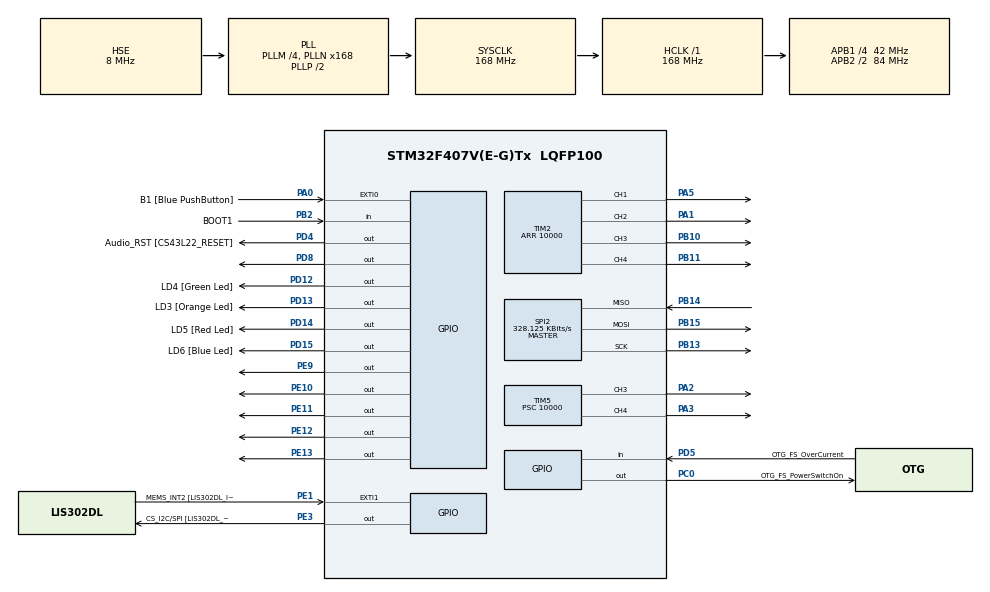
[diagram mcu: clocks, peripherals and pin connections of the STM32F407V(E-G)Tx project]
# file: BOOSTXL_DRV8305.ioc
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Mcu.Family=STM32F4
Mcu.Name=STM32F407V(E-G)Tx
Mcu.Package=LQFP100
NVIC.PriorityGroup=NVIC_PRIORITYGROUP_0
PA0-WKUP.GPIO_Label=B1 [Blue PushButton]
PA0-WKUP.GPIO_ModeDefaultEXTI=GPIO_MODE_EVT_RISING
PA0-WKUP.GPIO_PuPd=GPIO_NOPULL
PA0-WKUP.Signal=GPXTI0
PA1.Signal=S_TIM2_CH2
PA10.GPIO_Label=OTG_FS_ID
PA10.GPIO_Mode=GPIO_MODE_AF_PP
PA10.GPIO_PuPd=GPIO_NOPULL
PA10.GPIO_Speed=GPIO_SPEED_LOW
PA10.Signal=USB_OTG_FS_ID
PA11.GPIO_Label=OTG_FS_DM
PA11.GPIO_Mode=GPIO_MODE_AF_PP
PA11.GPIO_PuPd=GPIO_NOPULL
PA11.GPIO_Speed=GPIO_SPEED_LOW
PA11.Signal=USB_OTG_FS_DM
PA12.GPIO_Label=OTG_FS_DP
PA12.GPIO_Mode=GPIO_MODE_AF_PP
PA12.GPIO_PuPd=GPIO_NOPULL
PA12.GPIO_Speed=GPIO_SPEED_LOW
PA12.Signal=USB_OTG_FS_DP
PA13.GPIO_Label=SWDIO
PA13.Signal=SYS_JTMS-SWDIO
PA14.GPIO_Label=SWCLK
PA14.Signal=SYS_JTCK-SWCLK
PA2.Signal=S_TIM5_CH3
PA3.Signal=S_TIM5_CH4
PA4.GPIO_Label=I2S3_WS [CS43L22_LRCK]
PA4.GPIO_Mode=GPIO_MODE_AF_PP
PA4.GPIO_PuPd=GPIO_NOPULL
PA4.GPIO_Speed=GPIO_SPEED_LOW
PA4.Signal=I2S3_WS
PA5.Signal=S_TIM2_CH1_ETR
PA6.GPIO_Label=SPI1_MISO [LIS302DL_SDO]
PA6.GPIO_Mode=GPIO_MODE_AF_PP
PA6.GPIO_PuPd=GPIO_NOPULL
PA6.GPIO_Speed=GPIO_SPEED_LOW
PA6.Signal=SPI1_MISO
PA7.GPIO_Label=SPI1_MOSI [LIS302DL_SDA/SDI/SDO]
PA7.GPIO_Mode=GPIO_MODE_AF_PP
PA7.GPIO_PuPd=GPIO_NOPULL
PA7.GPIO_Speed=GPIO_SPEED_LOW
PA7.Signal=SPI1_MOSI
PA9.GPIO_Label=VBUS_FS
PA9.GPIO_Mode=GPIO_MODE_INPUT
PA9.GPIO_PuPd=GPIO_NOPULL
PA9.Signal=USB_OTG_FS_VBUS
PB10.Signal=S_TIM2_CH3
PB11.Signal=S_TIM2_CH4
PB13.Mode=Full_Duplex_Master
PB13.Signal=SPI2_SCK
PB14.Mode=Full_Duplex_Master
PB14.Signal=SPI2_MISO
PB15.Mode=Full_Duplex_Master
PB15.Signal=SPI2_MOSI
PB2.GPIO_Label=BOOT1
PB2.GPIO_Mode=GPIO_MODE_INPUT
PB2.GPIO_PuPd=GPIO_NOPULL
PB2.Signal=GPIO_Input
PB3.GPIO_Label=SWO
PB3.Signal=SYS_JTDO-SWO
PB6.GPIO_Label=Audio_SCL [CS43L22_SCL]
PB6.GPIO_Mode=GPIO_MODE_AF_OD
PB6.GPIO_PuPd=GPIO_NOPULL
PB6.GPIO_Speed=GPIO_SPEED_LOW
PB6.Signal=I2C1_SCL
PB9.GPIO_Label=Audio_SDA [CS43L22_SDA]
PB9.GPIO_Mode=GPIO_MODE_AF_OD
PB9.GPIO_PuPd=GPIO_NOPULL
PB9.GPIO_Speed=GPIO_SPEED_LOW
PB9.Signal=I2C1_SDA
PC0.GPIO_Label=OTG_FS_PowerSwitchOn
PC0.GPIO_PuPd=GPIO_NOPULL
PC0.GPIO_Speed=GPIO_SPEED_LOW
PC0.Signal=GPIO_Output
PC10.GPIO_Label=I2S3_SCK [CS43L22_SCLK]
PC10.GPIO_Mode=GPIO_MODE_AF_PP
PC10.GPIO_PuPd=GPIO_NOPULL
PC10.GPIO_Speed=GPIO_SPEED_LOW
PC10.Signal=I2S3_CK
PC12.GPIO_Label=I2S3_SD [CS43L22_SDIN]
PC12.GPIO_Mode=GPIO_MODE_AF_PP
PC12.GPIO_PuPd=GPIO_NOPULL
PC12.GPIO_Speed=GPIO_SPEED_LOW
PC12.Signal=I2S3_SD
PC14-OSC32_IN.GPIO_Label=PC14-OSC32_IN
PC14-OSC32_IN.Mode=LSE-External-Oscillator
PC14-OSC32_IN.Signal=RCC_OSC32_IN
PC15-OSC32_OUT.GPIO_Label=PC15-OSC32_OUT
PC15-OSC32_OUT.Mode=LSE-External-Oscillator
PC15-OSC32_OUT.Signal=RCC_OSC32_OUT
PC3.GPIO_Label=PDM_OUT [MP45DT02_DOUT]
PC3.GPIO_Mode=GPIO_MODE_AF_PP
PC3.GPIO_PuPd=GPIO_NOPULL
PC3.GPIO_Speed=GPIO_SPEED_LOW
PC3.Signal=I2S2_SD
PC7.GPIO_Label=I2S3_MCK [CS43L22_MCLK]
PC7.GPIO_Mode=GPIO_MODE_AF_PP
PC7.GPIO_PuPd=GPIO_NOPULL
PC7.GPIO_Speed=GPIO_SPEED_LOW
PC7.Signal=I2S3_MCK
PD12.GPIO_Label=LD4 [Green Led]
PD12.GPIO_PuPd=GPIO_NOPULL
PD12.GPIO_Speed=GPIO_SPEED_LOW
PD12.Signal=GPIO_Output
PD13.GPIO_Label=LD3 [Orange Led]
PD13.GPIO_PuPd=GPIO_NOPULL
PD13.GPIO_Speed=GPIO_SPEED_LOW
PD13.Signal=GPIO_Output
PD14.GPIO_Label=LD5 [Red Led]
PD14.GPIO_PuPd=GPIO_NOPULL
PD14.GPIO_Speed=GPIO_SPEED_LOW
PD14.Signal=GPIO_Output
PD15.GPIO_Label=LD6 [Blue Led]
PD15.GPIO_PuPd=GPIO_NOPULL
PD15.GPIO_Speed=GPIO_SPEED_LOW
PD15.Signal=GPIO_Output
PD4.GPIO_Label=Audio_RST [CS43L22_RESET]
PD4.GPIO_PuPd=GPIO_NOPULL
PD4.GPIO_Speed=GPIO_SPEED_LOW
PD4.Signal=GPIO_Output
PD5.GPIO_Label=OTG_FS_OverCurrent
PD5.GPIO_Mode=GPIO_MODE_INPUT
PD5.GPIO_PuPd=GPIO_NOPULL
PD5.Signal=GPIO_Input
PD8.Signal=GPIO_Output
PE1.GPIO_Label=MEMS_INT2 [LIS302DL_INT2]
PE1.GPIO_ModeDefaultEXTI=GPIO_MODE_EVT_RISING
PE1.GPIO_PuPd=GPIO_NOPULL
PE1.Signal=GPXTI1
PE10.Signal=GPIO_Output
PE11.Signal=GPIO_Output
PE12.Signal=GPIO_Output
PE13.Signal=GPIO_Output
PE3.GPIO_Label=CS_I2C/SPI [LIS302DL_CS_I2C/SPI]
PE3.GPIO_PuPd=GPIO_NOPULL
PE3.GPIO_Speed=GPIO_SPEED_LOW
PE3.Signal=GPIO_Output
PE9.Signal=GPIO_Output
PH0-OSC_IN.GPIO_Label=PH0-OSC_IN
PH0-OSC_IN.Mode=HSE-External-Oscillator
PH0-OSC_IN.Signal=RCC_OSC_IN
PH1-OSC_OUT.GPIO_Label=PH1-OSC_OUT
PH1-OSC_OUT.Mode=HSE-External-Oscillator
PH1-OSC_OUT.Signal=RCC_OSC_OUT
ProjectManager.HeapSize=0x400
ProjectManager.StackSize=0x200
ProjectManager.TargetToolchain=MDK-ARM V5
RCC.48MHZClocksFreq_Value=48000000
RCC.AHBFreq_Value=168000000
RCC.APB1CLKDivider=RCC_HCLK_DIV4
RCC.APB1Freq_Value=42000000
RCC.APB1TimFreq_Value=84000000
RCC.APB2CLKDivider=RCC_HCLK_DIV2
RCC.APB2Freq_Value=84000000
RCC.APB2TimFreq_Value=168000000
RCC.CortexFreq_Value=168000000
RCC.HCLKFreq_Value=168000000
RCC.HSE_VALUE=8000000
RCC.HSI_VALUE=16000000
RCC.PLLM=4
RCC.PLLN=168
RCC.PLLQ=7
RCC.PLLSourceVirtual=RCC_PLLSOURCE_HSE
RCC.SYSCLKFreq_VALUE=168000000
RCC.SYSCLKSource=RCC_SYSCLKSOURCE_PLLCLK
RCC.VCOOutputFreq_Value=336000000
SH.S_TIM2_CH1_ETR.0=TIM2_CH1,PWM Generation1 CH1
SH.S_TIM2_CH2.0=TIM2_CH2,PWM Generation2 CH2
SH.S_TIM2_CH3.0=TIM2_CH3,PWM Generation3 CH3
SH.S_TIM2_CH4.0=TIM2_CH4,PWM Generation4 CH4
SH.S_TIM5_CH3.0=TIM5_CH3,PWM Generation3 CH3
SH.S_TIM5_CH4.0=TIM5_CH4,PWM Generation4 CH4
SPI2.BaudRatePrescaler=SPI_BAUDRATEPRESCALER_128
SPI2.CLKPhase=SPI_PHASE_2EDGE
SPI2.CLKPolarity=SPI_POLARITY_LOW
SPI2.CalculateBaudRate=328.125 KBits/s
SPI2.DataSize=SPI_DATASIZE_16BIT
SPI2.FirstBit=SPI_FIRSTBIT_MSB
SPI2.Mode=SPI_MODE_MASTER
TIM2.Channel-PWM\ Generation2\ CH2=TIM_CHANNEL_2
TIM2.Channel-PWM\ Generation3\ CH3=TIM_CHANNEL_3
TIM2.Channel-PWM\ Generation4\ CH4=TIM_CHANNEL_4
TIM2.Period=10000
TIM2.Pulse-PWM\ Generation1\ CH1=5000
TIM2.Pulse-PWM\ Generation2\ CH2=5000
TIM2.Pulse-PWM\ Generation3\ CH3=5000
TIM2.Pulse-PWM\ Generation4\ CH4=5000
TIM5.Channel-PWM\ Generation3\ CH3=TIM_CHANNEL_3
TIM5.Channel-PWM\ Generation4\ CH4=TIM_CHANNEL_4
TIM5.Prescaler=10000
TIM5.Pulse-PWM\ Generation3\ CH3=5000
TIM5.Pulse-PWM\ Generation4\ CH4=5000
board=STM32F4DISCOVERY

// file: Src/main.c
/**
  ******************************************************************************
  * File Name          : main.c
  * Description        : Main program body
  ******************************************************************************
  *
  * COPYRIGHT(c) 2017 STMicroelectronics
  *
  * Redistribution and use in source and binary forms, with or without modification,
  * are permitted provided that the following conditions are met:
  *   1. Redistributions of source code must retain the above copyright notice,
  *      this list of conditions and the following disclaimer.
  *   2. Redistributions in binary form must reproduce the above copyright notice,
  *      this list of conditions and the following disclaimer in the documentation
  *      and/or other materials provided with the distribution.
  *   3. Neither the name of STMicroelectronics nor the names of its contributors
  *      may be used to endorse or promote products derived from this software
  *      without specific prior written permission.
  *
  * THIS SOFTWARE IS PROVIDED BY THE COPYRIGHT HOLDERS AND CONTRIBUTORS "AS IS"
  * AND ANY EXPRESS OR IMPLIED WARRANTIES, INCLUDING, BUT NOT LIMITED TO, THE
  * IMPLIED WARRANTIES OF MERCHANTABILITY AND FITNESS FOR A PARTICULAR PURPOSE ARE
  * DISCLAIMED. IN NO EVENT SHALL THE COPYRIGHT HOLDER OR CONTRIBUTORS BE LIABLE
  * FOR ANY DIRECT, INDIRECT, INCIDENTAL, SPECIAL, EXEMPLARY, OR CONSEQUENTIAL
  * DAMAGES (INCLUDING, BUT NOT LIMITED TO, PROCUREMENT OF SUBSTITUTE GOODS OR
  * SERVICES; LOSS OF USE, DATA, OR PROFITS; OR BUSINESS INTERRUPTION) HOWEVER
  * CAUSED AND ON ANY THEORY OF LIABILITY, WHETHER IN CONTRACT, STRICT LIABILITY,
  * OR TORT (INCLUDING NEGLIGENCE OR OTHERWISE) ARISING IN ANY WAY OUT OF THE USE
  * OF THIS SOFTWARE, EVEN IF ADVISED OF THE POSSIBILITY OF SUCH DAMAGE.
  *
  ******************************************************************************
  */
#include "stm32f4xx_hal.h"
#include "spi.h"
#include "tim.h"
#include "gpio.h"

/* USER CODE BEGIN PV */
/* Private variables ---------------------------------------------------------*/

/* USER CODE END PV */

void SystemClock_Config(void);

/* USER CODE BEGIN PFP */
/* Private function prototypes -----------------------------------------------*/

/* USER CODE END PFP */

int main(void)
{

  /* MCU Configuration----------------------------------------------------------*/

  /* Reset of all peripherals, Initializes the Flash interface and the Systick. */
  HAL_Init();

  /* Configure the system clock */
  SystemClock_Config();

  /* Initialize all configured peripherals */
  MX_GPIO_Init();
  MX_SPI2_Init();
  MX_TIM2_Init();
  MX_TIM5_Init();

  /* USER CODE BEGIN 2 */
  HAL_TIM_Base_Start(&htim2);
  HAL_TIM_Base_Start(&htim5);
  HAL_TIM_PWM_Start(&htim2,TIM_CHANNEL_1);
  HAL_TIM_PWM_Start(&htim2,TIM_CHANNEL_2);
  HAL_TIM_PWM_Start(&htim2,TIM_CHANNEL_3);
  HAL_TIM_PWM_Start(&htim2,TIM_CHANNEL_4);
  HAL_TIM_PWM_Start(&htim5,TIM_CHANNEL_2);
  HAL_TIM_PWM_Start(&htim5,TIM_CHANNEL_3);

  uint8_t command = 0;
  uint8_t button_state = 0;
  int32_t button_counter = 0;
  uint8_t TXRead[2]={0, 0xB8};
  uint8_t TXWrite[2]={0x16, 0x3B};
  uint8_t RX[2]={0, 0};
  HAL_GPIO_WritePin(GPIOD,GPIO_PIN_12|GPIO_PIN_13|GPIO_PIN_14|GPIO_PIN_15,1);
  /* USER CODE END 2 */

  /* Infinite loop */
  /* USER CODE BEGIN WHILE */
  HAL_GPIO_WritePin(GPIOE,GPIO_PIN_9,0);
	int phase_timing=3;
  while (1)
  {
  /* USER CODE END WHILE */

  /* USER CODE BEGIN 3 */

    HAL_Delay(10);
    button_state = HAL_GPIO_ReadPin(GPIOA,GPIO_PIN_0);
    if(button_state){
      button_counter++;
      if(button_counter>100 && button_counter<200){
        command=1;
        HAL_GPIO_WritePin(GPIOD,GPIO_PIN_12,1);
        HAL_GPIO_WritePin(GPIOD,GPIO_PIN_13,0);
        HAL_GPIO_WritePin(GPIOD,GPIO_PIN_14,0);
        HAL_GPIO_WritePin(GPIOD,GPIO_PIN_15,0);
      }
      if(button_counter>200 && button_counter<300){
        command=2;
        HAL_GPIO_WritePin(GPIOD,GPIO_PIN_12,1);
        HAL_GPIO_WritePin(GPIOD,GPIO_PIN_13,1);
        HAL_GPIO_WritePin(GPIOD,GPIO_PIN_14,0);
        HAL_GPIO_WritePin(GPIOD,GPIO_PIN_15,0);
      }
      if(button_counter>300 && button_counter<400){
        command=3;
        HAL_GPIO_WritePin(GPIOD,GPIO_PIN_12,1);
        HAL_GPIO_WritePin(GPIOD,GPIO_PIN_13,1);
        HAL_GPIO_WritePin(GPIOD,GPIO_PIN_14,1);
        HAL_GPIO_WritePin(GPIOD,GPIO_PIN_15,0);
      }
    }else{
      button_counter--;
      if(button_counter<=0){
        button_counter = 0;
        HAL_GPIO_WritePin(GPIOD,GPIO_PIN_12|GPIO_PIN_13|GPIO_PIN_14|GPIO_PIN_15,0);
      }
      switch(command){
        case(0):
          HAL_GPIO_WritePin(GPIOD,GPIO_PIN_8,1);
					HAL_GPIO_WritePin(GPIOE,GPIO_PIN_9,0);
					HAL_GPIO_WritePin(GPIOE,GPIO_PIN_10,0);
					HAL_GPIO_WritePin(GPIOE,GPIO_PIN_11,0);
					HAL_GPIO_WritePin(GPIOE,GPIO_PIN_12,0);
					HAL_GPIO_WritePin(GPIOE,GPIO_PIN_13,0);
        break;
        case(1):
					HAL_GPIO_WritePin(GPIOD,GPIO_PIN_12,1);
					HAL_GPIO_WritePin(GPIOD,GPIO_PIN_13,0);
					HAL_GPIO_WritePin(GPIOD,GPIO_PIN_14,0);
					HAL_GPIO_WritePin(GPIOD,GPIO_PIN_15,1);
          HAL_GPIO_WritePin(GPIOD,GPIO_PIN_8,0);
          HAL_SPI_TransmitReceive(&hspi2,TXRead,RX,1,1000);
          command=0;
        break;
        case(2):
					HAL_GPIO_WritePin(GPIOD,GPIO_PIN_12,0);
					HAL_GPIO_WritePin(GPIOD,GPIO_PIN_13,1);
					HAL_GPIO_WritePin(GPIOD,GPIO_PIN_14,1);
					HAL_GPIO_WritePin(GPIOD,GPIO_PIN_15,0);
          HAL_GPIO_WritePin(GPIOD,GPIO_PIN_8,0);
          HAL_SPI_TransmitReceive(&hspi2,TXWrite,RX,1,1000);
          command=0;
				break;
        case(3):
          HAL_GPIO_WritePin(GPIOE,GPIO_PIN_9,1);
          HAL_Delay(1);
					for(phase_timing = 10; phase_timing>0; phase_timing--){
          for(int i = 0; i<50; i++){
						HAL_GPIO_WritePin(GPIOD,GPIO_PIN_12,0);
						HAL_GPIO_WritePin(GPIOD,GPIO_PIN_13,1);
						HAL_GPIO_WritePin(GPIOD,GPIO_PIN_14,1);
						HAL_GPIO_WritePin(GPIOD,GPIO_PIN_15,1);
            TIM2->CCR1 = 9500;
						HAL_GPIO_WritePin(GPIOE,GPIO_PIN_9,1);
            HAL_GPIO_WritePin(GPIOE,GPIO_PIN_10,0);
            HAL_GPIO_WritePin(GPIOE,GPIO_PIN_11,1);
            HAL_GPIO_WritePin(GPIOE,GPIO_PIN_12,1);

            HAL_Delay(phase_timing);
            HAL_GPIO_WritePin(GPIOE,GPIO_PIN_10,0);
            HAL_GPIO_WritePin(GPIOE,GPIO_PIN_11,1);
            HAL_GPIO_WritePin(GPIOE,GPIO_PIN_12,0);
            HAL_Delay(phase_timing);
            HAL_GPIO_WritePin(GPIOE,GPIO_PIN_10,1);
            HAL_GPIO_WritePin(GPIOE,GPIO_PIN_11,1);
            HAL_GPIO_WritePin(GPIOE,GPIO_PIN_12,0);
            HAL_Delay(phase_timing);
            HAL_GPIO_WritePin(GPIOE,GPIO_PIN_10,1);
            HAL_GPIO_WritePin(GPIOE,GPIO_PIN_11,0);
            HAL_GPIO_WritePin(GPIOE,GPIO_PIN_12,0);
            HAL_Delay(phase_timing);
            HAL_GPIO_WritePin(GPIOE,GPIO_PIN_10,1);
            HAL_GPIO_WritePin(GPIOE,GPIO_PIN_11,0);
            HAL_GPIO_WritePin(GPIOE,GPIO_PIN_12,1);
            HAL_Delay(phase_timing);
            HAL_GPIO_WritePin(GPIOE,GPIO_PIN_10,0);
            HAL_GPIO_WritePin(GPIOE,GPIO_PIN_11,0);
            HAL_GPIO_WritePin(GPIOE,GPIO_PIN_12,1);
            HAL_Delay(phase_timing);
          }
					}
          command=0;
          HAL_GPIO_WritePin(GPIOE,GPIO_PIN_9,0);
        break;
      }
    }
  }
  /* USER CODE END 3 */

}

/** System Clock Configuration
*/
void SystemClock_Config(void)
{

  RCC_OscInitTypeDef RCC_OscInitStruct;
  RCC_ClkInitTypeDef RCC_ClkInitStruct;

  __PWR_CLK_ENABLE();

  __HAL_PWR_VOLTAGESCALING_CONFIG(PWR_REGULATOR_VOLTAGE_SCALE1);

  RCC_OscInitStruct.OscillatorType = RCC_OSCILLATORTYPE_HSE;
  RCC_OscInitStruct.HSEState = RCC_HSE_ON;
  RCC_OscInitStruct.PLL.PLLState = RCC_PLL_ON;
  RCC_OscInitStruct.PLL.PLLSource = RCC_PLLSOURCE_HSE;
  RCC_OscInitStruct.PLL.PLLM = 4;
  RCC_OscInitStruct.PLL.PLLN = 168;
  RCC_OscInitStruct.PLL.PLLP = RCC_PLLP_DIV2;
  RCC_OscInitStruct.PLL.PLLQ = 7;
  HAL_RCC_OscConfig(&RCC_OscInitStruct);

  RCC_ClkInitStruct.ClockType = RCC_CLOCKTYPE_HCLK|RCC_CLOCKTYPE_SYSCLK
                              |RCC_CLOCKTYPE_PCLK1|RCC_CLOCKTYPE_PCLK2;
  RCC_ClkInitStruct.SYSCLKSource = RCC_SYSCLKSOURCE_PLLCLK;
  RCC_ClkInitStruct.AHBCLKDivider = RCC_SYSCLK_DIV1;
  RCC_ClkInitStruct.APB1CLKDivider = RCC_HCLK_DIV4;
  RCC_ClkInitStruct.APB2CLKDivider = RCC_HCLK_DIV2;
  HAL_RCC_ClockConfig(&RCC_ClkInitStruct, FLASH_LATENCY_5);

  HAL_SYSTICK_Config(HAL_RCC_GetHCLKFreq()/1000);

  HAL_SYSTICK_CLKSourceConfig(SYSTICK_CLKSOURCE_HCLK);

  /* SysTick_IRQn interrupt configuration */
  HAL_NVIC_SetPriority(SysTick_IRQn, 0, 0);
}

/************************ (C) COPYRIGHT STMicroelectronics *****END OF FILE****/
